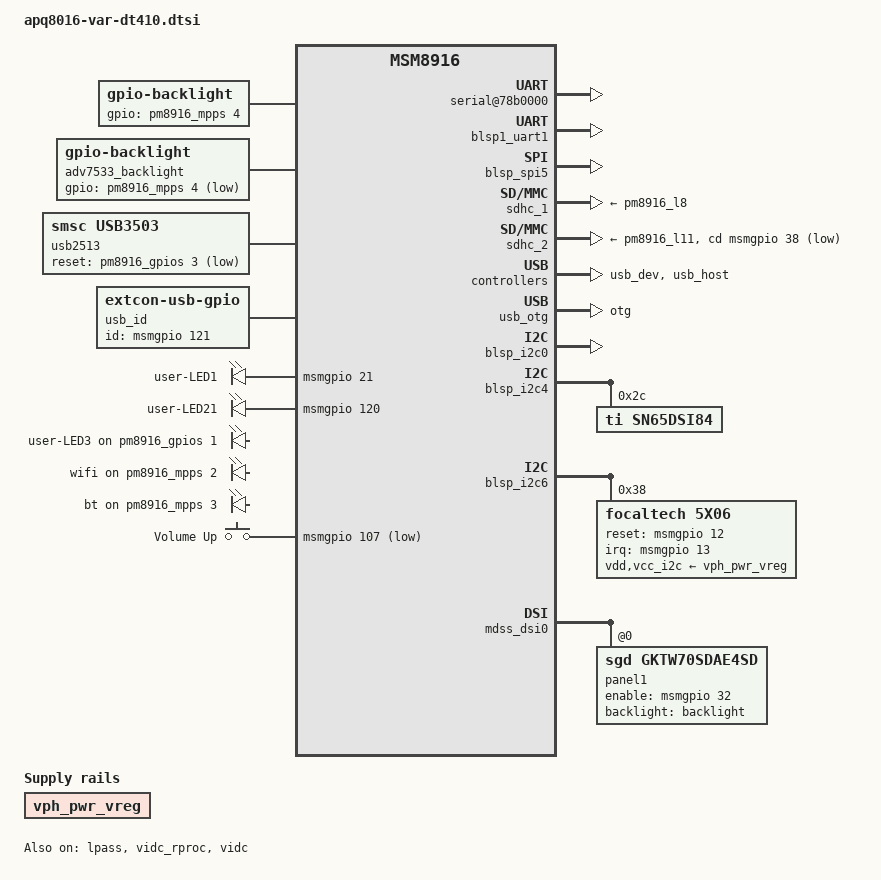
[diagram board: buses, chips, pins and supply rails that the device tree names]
/*
 * Copyright (c) 2015, The Linux Foundation. All rights reserved.
 *
 * This program is free software; you can redistribute it and/or modify
 * it under the terms of the GNU General Public License version 2 and
 * only version 2 as published by the Free Software Foundation.
 *
 * This program is distributed in the hope that it will be useful,
 * but WITHOUT ANY WARRANTY; without even the implied warranty of
 * MERCHANTABILITY or FITNESS FOR A PARTICULAR PURPOSE.  See the
 * GNU General Public License for more details.
 */

#include <dt-bindings/gpio/gpio.h>
#include <dt-bindings/input/input.h>
#include <dt-bindings/sound/apq8016-lpass.h>
#include "msm8916.dtsi"
#include "pm8916.dtsi"
#include "apq8016-var-dt410-soc-pins.dtsi"
#include "apq8016-var-dt410-pmic-pins.dtsi"
#include "msm8916-mdss.dtsi"
/ {
	aliases {
		serial0 = &blsp1_uart2;
		serial1 = &blsp1_uart1;
		i2c0	= &blsp_i2c0;
		i2c0	= &blsp_i2c0;
		i2c1	= &blsp_i2c6;
		i2c3	= &blsp_i2c4;
	};

	chosen {
		stdout-path = "serial0";
	};

	soc {
		serial@78b0000 {
			status = "okay";
			pinctrl-names = "default", "sleep";
			pinctrl-0 = <&blsp1_uart2_default>;
			pinctrl-1 = <&blsp1_uart2_sleep>;
		};
		vph_pwr_vreg: vph_pwr_vreg {

			compatible = "regulator-fixed";
			regulator-name = "vph_pwr";
			status = "ok";
			regulator-always-on;
		}; 

	};

	backlight: backlight {
			compatible = "gpio-backlight";
			gpios = <&pm8916_mpps 4 GPIO_ACTIVE_HIGH>;
			default-on;
		};

	adv7533_backlight: adv7533_backlight {
			compatible = "gpio-backlight";
			gpios = <&pm8916_mpps 4 GPIO_ACTIVE_LOW>;
			default-on;
		};

	usb2513 {
		compatible = "smsc,usb3503";
		reset-gpios = <&pm8916_gpios 3 GPIO_ACTIVE_LOW>;
		initial-mode = <1>;
	};

	usb_id: usb-id {
		interrupt-parent = <&msmgpio>;
		compatible = "linux,extcon-usb-gpio";
		id-gpio = <&msmgpio 121 GPIO_ACTIVE_HIGH>;
		pinctrl-names = "default";
		pinctrl-0 = <&usb_id_default>;
	};

	leds {
		pinctrl-names = "default";
		pinctrl-0 = <&msm_gpios_leds_default>,
			    <&pm8916_gpios_leds_default>,
			    <&pm8916_mpps_leds_default>;

		compatible = "gpio-leds";

		led@1 {
			label = "user-LED1";
			gpios = <&msmgpio 21 GPIO_ACTIVE_HIGH>;
			linux,default-trigger = "heartbeat";
			default-state = "off";
		};

		led@2 {
			label = "user-LED21";
			gpios = <&msmgpio 120 GPIO_ACTIVE_HIGH>;
			linux,default-trigger = "mmc0";
			default-state = "off";
		};

		led@3 {
			label = "user-LED3";
			gpios = <&pm8916_gpios 1 GPIO_ACTIVE_HIGH>;
			linux,default-trigger = "mmc1";
			default-state = "off";
		};

		led@5 {
			label = "wifi";
			gpios = <&pm8916_mpps 2 GPIO_ACTIVE_HIGH>;
			linux,default-trigger = "wlan";
			default-state = "off";
		};

		led@6 {
			label = "bt";
			gpios = <&pm8916_mpps 3 GPIO_ACTIVE_HIGH>;
			linux,default-trigger = "bt";
			default-state = "off";
		};
	};

	gpio_keys {
		compatible = "gpio-keys";
		#address-cells = <1>;
		#size-cells = <0>;
		autorepeat;

		pinctrl-names = "default";
		pinctrl-0 = <&msm_key_volp_n_default>;

		button@0 {
			label = "Volume Up";
			linux,code = <KEY_BACKSPACE>;
			gpios = <&msmgpio 107 GPIO_ACTIVE_LOW>;
		};
	};

};

&spmi_pon {
	// Overwrite RESETIN_N keyboard scan code
	linux,code = <KEY_ESC>;
};

&blsp_dma {
	status = "okay";
};

&blsp1_uart1 {
	status = "okay";
	pinctrl-names = "default", "sleep";
	pinctrl-0 = <&blsp1_uart1_default>;
	pinctrl-1 = <&blsp1_uart1_sleep>;
};

&blsp_spi5 {
	status = "okay";
};

&sdhc_1 {
	vmmc-supply = <&pm8916_l8>;
	vqmmc-supply = <&pm8916_l5>;

	pinctrl-names = "default", "sleep";
	pinctrl-0 = <&sdc1_clk_on &sdc1_cmd_on &sdc1_data_on>;
	pinctrl-1 = <&sdc1_clk_off &sdc1_cmd_off &sdc1_data_off>;
	status = "okay";
};

&sdhc_2 {
	vmmc-supply = <&pm8916_l11>;
	vqmmc-supply = <&pm8916_l12>;

	pinctrl-names = "default", "sleep";
	pinctrl-0 = <&sdc2_clk_on &sdc2_cmd_on &sdc2_data_on &sdc2_cd_on>;
	pinctrl-1 = <&sdc2_clk_off &sdc2_cmd_off &sdc2_data_off &sdc2_cd_off>;
	#address-cells = <0>;
	interrupt-parent = <&sdhc_2>;
	interrupts = <0 1 2>;
	#interrupt-cells = <1>;
	interrupt-map-mask = <0xffffffff>;
	interrupt-map = <0 &intc 0 125 0
			1 &intc 0 221 0
			2 &msmgpio 38 0>;
	interrupt-names = "hc_irq", "pwr_irq", "status_irq";
	cd-gpios = <&msmgpio 38 0x1>;

	status = "okay";
};

&usb_dev {
	extcon = <&usb_id>, <&usb_id>;
	status = "okay";
};

&usb_host {
	status = "okay";
};

&usb_otg {
	extcon = <&usb_id>, <&usb_id>;
	dr_mode = "otg";
	status = "okay";
	switch-gpio = <&pm8916_gpios 4 GPIO_ACTIVE_HIGH>; // D+/D- lines: 1 - Routed to HUB, 0 - Device
	pinctrl-names = "default";
	pinctrl-0 = <&usb_sw_sel_pm_default>;
};

&blsp_i2c0 {
	status = "ok";
};

&blsp_i2c4 {
	status = "ok";
	sn65dsi84@2c {
		compatible = "ti,sn65dsi84";
		reg = <0x2c>;
		sn65dsi84,addresses = <	0x09 0x0A 0x0B 0x0D 0x10 0x11 0x12 0x13 
								0x18 0x19 0x1A 0x1B 0x20 0x21 0x22 0x23 
								0x24 0x25 0x26 0x27 0x28 0x29 0x2A 0x2B 
								0x2C 0x2D 0x2E 0x2F 0x30 0x31 0x32 0x33 
								0x34 0x35 0x36 0x37 0x38 0x39 0x3A 0x3B 
								0x3C 0x3D 0x3E 0x0D>;
		sn65dsi84,values =    <	0x00 0x01 0x10 0x00 0x26 0x00 0x11 0x00 
								0x7a 0x00 0x03 0x00 0x20 0x03 0x00 0x00 
								0x00 0x00 0x00 0x00 0x21 0x00 0x00 0x00 
								0x30 0x00 0x00 0x00 0x03 0x00 0x00 0x00 
								0x28 0x00 0x00 0x00 0x00 0x00 0x00 0x00 
								0x00 0x00 0x00 0x01>;
	};
};

&blsp_i2c6 {
	status = "ok";
	focaltech@38{
		compatible = "focaltech,5x06";
		reg = <0x38>;
		interrupt-parent = <&msmgpio>;
		interrupts = <13 0x2>;
		vdd-supply = <&vph_pwr_vreg>;
		vcc_i2c-supply = <&vph_pwr_vreg>;
		pinctrl-names = "pmx_ts_active","pmx_ts_suspend";
		pinctrl-0 = <&pmx_ts_int_active &pmx_ts_reset_active>;
		pinctrl-1 = <&pmx_ts_int_suspend &pmx_ts_reset_suspend>;
		focaltech,name = "ft5x06";
		focaltech,family-id = <0x54>;
		focaltech,reset-gpio = <&msmgpio 12 0x00>;
		focaltech,irq-gpio = <&msmgpio 13 0x00>;
		focaltech,display-coords = <0 0 800 480>;
		focaltech,hard-reset-delay-ms = <50>;
		focaltech,soft-reset-delay-ms = <50>;
		focaltech,no-force-update;
		focaltech,i2c-pull-up;
		focaltech,group-id = <1>;
		focaltech,hard-reset-delay = <20>;
		focaltech,soft-reset-delay = <150>;
		focaltech,num-max-touches = <2>;
		focaltech,fw-name = "ft_8610_qrd_fw.bin";
		focaltech,fw-delay-aa-ms = <100>;
		focaltech,fw-delay-55-ms = <30>;
		focaltech,fw-upgrade-id1 = <0x79>;
		focaltech,fw-upgrade-id2 = <0x08>;
		focaltech,fw-delay-readid-ms = <10>;
		focaltech,fw-delay-era-flsh-ms = <2000>;
		focaltech,fw-auto-cal;
		focaltech,mirror_h;
		focaltech,mirror_v;
	};
};


&mdss_dsi0 {
 	status = "ok";
	panel1:panel@0{
		reg = <0>;
		status = "ok";
		compatible = "sgd,gktw70sdae4sd";
		backlight = <&backlight>;
		
		enable-gpios =<&msmgpio 32 GPIO_ACTIVE_HIGH>;
		pinctrl-names = "default","sleep";
		pinctrl-0 = <&adv7533_switch_active>;
		pinctrl-1 = <&adv7533_switch_suspend>;
	};
};

&lpass {
	status = "okay";


};
	/*
	Internal Codec
		playback - Primary MI2S
		capture - Ter MI2S

	External Primary:
		playback - secondary MI2S
		capture - Quat MI2S

	External Secondary:
		playback - Quat MI2S
		capture - Quat MI2S

	*/
&sound {
	status = "okay";
	pinctrl-0 = <&cdc_pdm_lines_act &ext_sec_tlmm_lines_act &ext_mclk_tlmm_lines_act>;
	pinctrl-1 = <&cdc_pdm_lines_sus &ext_sec_tlmm_lines_sus &ext_mclk_tlmm_lines_sus>;
	pinctrl-names = "default", "sleep";
	qcom,model = "DB410c";
};

&vidc_rproc {
	status = "okay";
};

&vidc {
	status = "okay";
};

/* default regulators required for mezzanine boards */
&pm8916_l15 {
	regulator-always-on;
};
